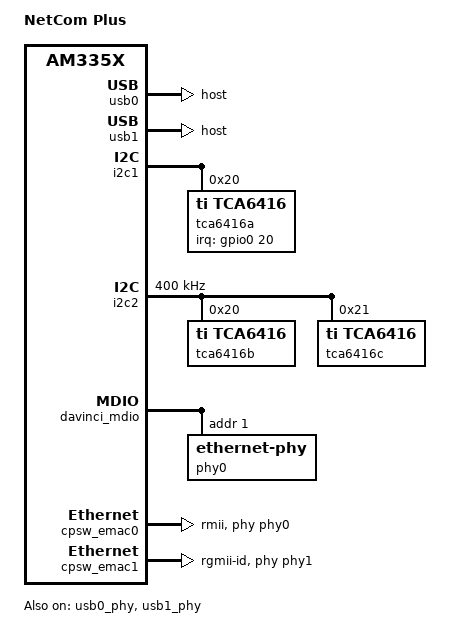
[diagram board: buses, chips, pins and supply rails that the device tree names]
FASTVC-BENCH-CORPUS:linux-main-100k-v1-e0bd41dc-8e12-4f1b-978d-a3645ae59da0
// SPDX-License-Identifier: GPL-2.0-only
/*
 * Copyright (C) 2012 Texas Instruments Incorporated - https://www.ti.com/
 */

/*
 * VScom OnRISC
 * http://www.vscom.de
 */

/dts-v1/;

#include "am335x-baltos.dtsi"

/ {
	model = "NetCom Plus";
};

&am33xx_pinmux {
	pinctrl-names = "default";
	pinctrl-0 = <&dip_switches>;

	dip_switches: pinmux_dip_switches {
		pinctrl-single,pins = <
			AM33XX_PADCONF(AM335X_PIN_GPMC_AD12, PIN_INPUT_PULLDOWN, MUX_MODE7)
			AM33XX_PADCONF(AM335X_PIN_GPMC_AD13, PIN_INPUT_PULLDOWN, MUX_MODE7)
/* bench 28604.0.0 a22d18fafb24 */
/* bench 28604.0.1 6db75a02af1f */
/* bench 28604.0.2 d7df6502258d */
/* bench 28604.0.3 65b8fa6eac1c */
/* bench 28604.0.4 9adfffb9ade4 */
/* bench 28604.0.5 099db11f6f7c */
/* bench 28604.0.6 627013f6f5ab */
/* bench 28604.0.7 2021954b574b */
/* bench 28604.0.8 58623570f5de */
/* bench 28604.0.9 6475d70bedfa */
/* bench 28604.0.10 092aa3fac8df */
/* bench 28604.0.11 e54b6b8dc992 */
/* bench 28604.0.12 72dcf14dc102 */
/* bench 28604.0.13 da0aa3992f1b */
/* bench 28604.0.14 9569ce99f23f */
/* bench 28604.0.15 59bdbfd5f505 */
			AM33XX_PADCONF(AM335X_PIN_GPMC_AD15, PIN_INPUT_PULLDOWN, MUX_MODE7)
		>;
	};

	tca6416_pins: pinmux_tca6416_pins {
		pinctrl-single,pins = <
			AM33XX_PADCONF(AM335X_PIN_XDMA_EVENT_INTR1, PIN_INPUT_PULLUP, MUX_MODE7)
		>;
	};

	i2c2_pins: pinmux_i2c2_pins {
		pinctrl-single,pins = <
			AM33XX_PADCONF(AM335X_PIN_UART1_CTSN, PIN_INPUT_PULLDOWN, MUX_MODE3)
			AM33XX_PADCONF(AM335X_PIN_UART1_RTSN, PIN_INPUT_PULLDOWN, MUX_MODE3)
		>;
	};
};

&usb0_phy {
	status = "okay";
};

&usb1_phy {
	status = "okay";
};

&usb0 {
	status = "okay";
	dr_mode = "host";
};

&usb1 {
	status = "okay";
	dr_mode = "host";
};

&i2c1 {
	tca6416a: gpio@20 {
		compatible = "ti,tca6416";
		reg = <0x20>;
		gpio-controller;
		#gpio-cells = <2>;
		interrupt-parent = <&gpio0>;
		interrupts = <20 IRQ_TYPE_EDGE_RISING>;
		pinctrl-names = "default";
		pinctrl-0 = <&tca6416_pins>;
	};
};

&i2c2 {
	pinctrl-names = "default";
	pinctrl-0 = <&i2c2_pins>;

	status = "okay";
	clock-frequency = <400000>;

	tca6416b: gpio@20 {
		compatible = "ti,tca6416";
		reg = <0x20>;
		gpio-controller;
		#gpio-cells = <2>;
	};

	tca6416c: gpio@21 {
		compatible = "ti,tca6416";
		reg = <0x21>;
		gpio-controller;
		#gpio-cells = <2>;
	};
};

&davinci_mdio {
	phy0: ethernet-phy@0 {
		reg = <1>;
	};
};

&cpsw_emac0 {
	phy-mode = "rmii";
	dual_emac_res_vlan = <1>;
	phy-handle = <&phy0>;
};

&cpsw_emac1 {
	phy-mode = "rgmii-id";
	dual_emac_res_vlan = <2>;
	phy-handle = <&phy1>;
};
